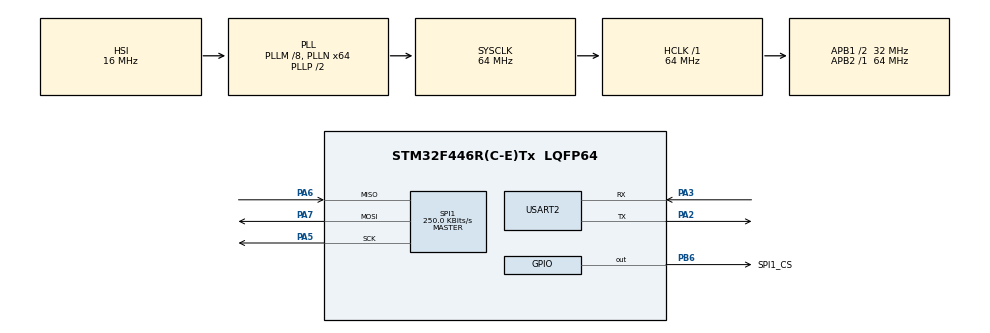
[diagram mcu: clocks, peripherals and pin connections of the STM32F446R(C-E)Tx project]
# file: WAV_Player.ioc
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Mcu.Family=STM32F4
Mcu.Name=STM32F446R(C-E)Tx
Mcu.Package=LQFP64
NVIC.PriorityGroup=NVIC_PRIORITYGROUP_0
PA13.Mode=Serial_Wire
PA13.Signal=SYS_JTMS-SWDIO
PA14.Mode=Serial_Wire
PA14.Signal=SYS_JTCK-SWCLK
PA2.Mode=Asynchronous
PA2.Signal=USART2_TX
PA3.Mode=Asynchronous
PA3.Signal=USART2_RX
PA5.GPIO_PuPd=GPIO_PULLUP
PA5.Mode=Full_Duplex_Master
PA5.Signal=SPI1_SCK
PA6.GPIO_PuPd=GPIO_PULLUP
PA6.Mode=Full_Duplex_Master
PA6.Signal=SPI1_MISO
PA7.GPIO_PuPd=GPIO_PULLUP
PA7.Mode=Full_Duplex_Master
PA7.Signal=SPI1_MOSI
PB6.GPIO_Label=SPI1_CS
PB6.GPIO_PuPd=GPIO_PULLUP
PB6.PinState=GPIO_PIN_SET
PB6.Signal=GPIO_Output
ProjectManager.HeapSize=0x200
ProjectManager.StackSize=0x400
ProjectManager.TargetToolchain=STM32CubeIDE
RCC.AHBFreq_Value=64000000
RCC.APB1CLKDivider=RCC_HCLK_DIV2
RCC.APB1Freq_Value=32000000
RCC.APB1TimFreq_Value=64000000
RCC.APB2Freq_Value=64000000
RCC.APB2TimFreq_Value=64000000
RCC.CortexFreq_Value=64000000
RCC.FLatency-AdvancedSettings=FLASH_LATENCY_2
RCC.HCLKFreq_Value=64000000
RCC.HSE_VALUE=8000000
RCC.HSI_VALUE=16000000
RCC.LSE_VALUE=32768
RCC.PLLM=8
RCC.PLLN=64
RCC.SYSCLKFreq_VALUE=64000000
RCC.SYSCLKSource=RCC_SYSCLKSOURCE_PLLCLK
RCC.USBFreq_Value=64000000
RCC.VCOOutputFreq_Value=128000000
SPI1.BaudRatePrescaler=SPI_BAUDRATEPRESCALER_256
SPI1.CalculateBaudRate=250.0 KBits/s
SPI1.Direction=SPI_DIRECTION_2LINES
SPI1.Mode=SPI_MODE_MASTER
SPI1.VirtualType=VM_MASTER
USART2.VirtualMode=VM_ASYNC
VP_FATFS_VS_Generic.Mode=User_defined
board=NUCLEO-F446RE

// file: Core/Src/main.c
/* USER CODE BEGIN Header */
/**
  ******************************************************************************
  * @file           : main.c
  * @brief          : Main program body
  ******************************************************************************
  * @attention
  *
  * Copyright (c) 2026 STMicroelectronics.
  * All rights reserved.
  *
  * This software is licensed under terms that can be found in the LICENSE file
  * in the root directory of this software component.
  * If no LICENSE file comes with this software, it is provided AS-IS.
  *
  ******************************************************************************
  */
/* USER CODE END Header */
#include "main.h"
#include "fatfs.h"

/* USER CODE BEGIN Includes */

#include <stdio.h>
#include <string.h>

/* USER CODE END Includes */

SPI_HandleTypeDef hspi1;

UART_HandleTypeDef huart2;

void SystemClock_Config(void);
static void MX_GPIO_Init(void);
static void MX_SPI1_Init(void);
static void MX_USART2_UART_Init(void);
/* USER CODE BEGIN PFP */

void ListFiles(const char *path);

/* USER CODE END PFP */

int main(void)
{

  /* MCU Configuration--------------------------------------------------------*/

  /* Reset of all peripherals, Initializes the Flash interface and the Systick. */
  HAL_Init();

  /* Configure the system clock */
  SystemClock_Config();

  /* Initialize all configured peripherals */
  MX_GPIO_Init();
  MX_SPI1_Init();
  MX_USART2_UART_Init();
  MX_FATFS_Init();
  /* USER CODE BEGIN 2 */

  FRESULT fres;
  FATFS fs;
  char msg[64];

  /* USER CODE END 2 */

  /* Infinite loop */
  /* USER CODE BEGIN WHILE */
  while (1)
  {
	    fres = f_mount(&fs, "", 1);
	    if (fres == FR_OK) {
	        HAL_UART_Transmit(&huart2, (uint8_t *)"Mount OK\r\n", 10, 100);
	        ListFiles("/");
	        while (1) {} /* stop here once it works */
	    } else {
	        sprintf(msg, "Mount failed: %d\r\n", fres);
	        HAL_UART_Transmit(&huart2, (uint8_t *)msg, strlen(msg), 100);
	    }
	    HAL_Delay(2000);
    /* USER CODE END WHILE */

  }
}

void SystemClock_Config(void)
{
  RCC_OscInitTypeDef RCC_OscInitStruct = {0};
  RCC_ClkInitTypeDef RCC_ClkInitStruct = {0};

  /** Configure the main internal regulator output voltage
  */
  __HAL_RCC_PWR_CLK_ENABLE();
  __HAL_PWR_VOLTAGESCALING_CONFIG(PWR_REGULATOR_VOLTAGE_SCALE3);

  /** Initializes the RCC Oscillators according to the specified parameters
  * in the RCC_OscInitTypeDef structure.
  */
  RCC_OscInitStruct.OscillatorType = RCC_OSCILLATORTYPE_HSI;
  RCC_OscInitStruct.HSIState = RCC_HSI_ON;
  RCC_OscInitStruct.HSICalibrationValue = RCC_HSICALIBRATION_DEFAULT;
  RCC_OscInitStruct.PLL.PLLState = RCC_PLL_ON;
  RCC_OscInitStruct.PLL.PLLSource = RCC_PLLSOURCE_HSI;
  RCC_OscInitStruct.PLL.PLLM = 8;
  RCC_OscInitStruct.PLL.PLLN = 64;
  RCC_OscInitStruct.PLL.PLLP = RCC_PLLP_DIV2;
  RCC_OscInitStruct.PLL.PLLQ = 2;
  RCC_OscInitStruct.PLL.PLLR = 2;
  if (HAL_RCC_OscConfig(&RCC_OscInitStruct) != HAL_OK)
  {
    Error_Handler();
  }

  /** Initializes the CPU, AHB and APB buses clocks
  */
  RCC_ClkInitStruct.ClockType = RCC_CLOCKTYPE_HCLK|RCC_CLOCKTYPE_SYSCLK
                              |RCC_CLOCKTYPE_PCLK1|RCC_CLOCKTYPE_PCLK2;
  RCC_ClkInitStruct.SYSCLKSource = RCC_SYSCLKSOURCE_PLLCLK;
  RCC_ClkInitStruct.AHBCLKDivider = RCC_SYSCLK_DIV1;
  RCC_ClkInitStruct.APB1CLKDivider = RCC_HCLK_DIV2;
  RCC_ClkInitStruct.APB2CLKDivider = RCC_HCLK_DIV1;

  if (HAL_RCC_ClockConfig(&RCC_ClkInitStruct, FLASH_LATENCY_2) != HAL_OK)
  {
    Error_Handler();
  }
}

static void MX_SPI1_Init(void)
{

  /* SPI1 parameter configuration*/
  hspi1.Instance = SPI1;
  hspi1.Init.Mode = SPI_MODE_MASTER;
  hspi1.Init.Direction = SPI_DIRECTION_2LINES;
  hspi1.Init.DataSize = SPI_DATASIZE_8BIT;
  hspi1.Init.CLKPolarity = SPI_POLARITY_LOW;
  hspi1.Init.CLKPhase = SPI_PHASE_1EDGE;
  hspi1.Init.NSS = SPI_NSS_SOFT;
  hspi1.Init.BaudRatePrescaler = SPI_BAUDRATEPRESCALER_256;
  hspi1.Init.FirstBit = SPI_FIRSTBIT_MSB;
  hspi1.Init.TIMode = SPI_TIMODE_DISABLE;
  hspi1.Init.CRCCalculation = SPI_CRCCALCULATION_DISABLE;
  hspi1.Init.CRCPolynomial = 10;
  if (HAL_SPI_Init(&hspi1) != HAL_OK)
  {
    Error_Handler();
  }

}

static void MX_USART2_UART_Init(void)
{

  huart2.Instance = USART2;
  huart2.Init.BaudRate = 115200;
  huart2.Init.WordLength = UART_WORDLENGTH_8B;
  huart2.Init.StopBits = UART_STOPBITS_1;
  huart2.Init.Parity = UART_PARITY_NONE;
  huart2.Init.Mode = UART_MODE_TX_RX;
  huart2.Init.HwFlowCtl = UART_HWCONTROL_NONE;
  huart2.Init.OverSampling = UART_OVERSAMPLING_16;
  if (HAL_UART_Init(&huart2) != HAL_OK)
  {
    Error_Handler();
  }

}

static void MX_GPIO_Init(void)
{
  GPIO_InitTypeDef GPIO_InitStruct = {0};

  /* GPIO Ports Clock Enable */
  __HAL_RCC_GPIOA_CLK_ENABLE();
  __HAL_RCC_GPIOB_CLK_ENABLE();

  /*Configure GPIO pin Output Level */
  HAL_GPIO_WritePin(SPI1_CS_GPIO_Port, SPI1_CS_Pin, GPIO_PIN_SET);

  /*Configure GPIO pin : SPI1_CS_Pin */
  GPIO_InitStruct.Pin = SPI1_CS_Pin;
  GPIO_InitStruct.Mode = GPIO_MODE_OUTPUT_PP;
  GPIO_InitStruct.Pull = GPIO_PULLUP;
  GPIO_InitStruct.Speed = GPIO_SPEED_FREQ_LOW;
  HAL_GPIO_Init(SPI1_CS_GPIO_Port, &GPIO_InitStruct);

}

/* USER CODE BEGIN 4 */
void ListFiles(const char *path)
{
    FRESULT res;
    DIR dir;
    FILINFO fno;
    char msg[128];

    res = f_opendir(&dir, path);
    if (res != FR_OK) {
        sprintf(msg, "opendir failed: %d\r\n", res);
        HAL_UART_Transmit(&huart2, (uint8_t *)msg, strlen(msg), 100);
        return;
    }

    for (;;) {
        res = f_readdir(&dir, &fno);
        if (res != FR_OK || fno.fname[0] == 0) break; /* error or end of dir */

        if (fno.fattrib & AM_DIR) {
            sprintf(msg, "[DIR]  %s\r\n", fno.fname);
        } else {
            sprintf(msg, "[FILE] %s  (%lu bytes)\r\n", fno.fname, (unsigned long)fno.fsize);
        }
        HAL_UART_Transmit(&huart2, (uint8_t *)msg, strlen(msg), 100);
    }

    f_closedir(&dir);
}
/* USER CODE END 4 */

void Error_Handler(void)
{
  __disable_irq();
  while (1)
  {
  }
}
